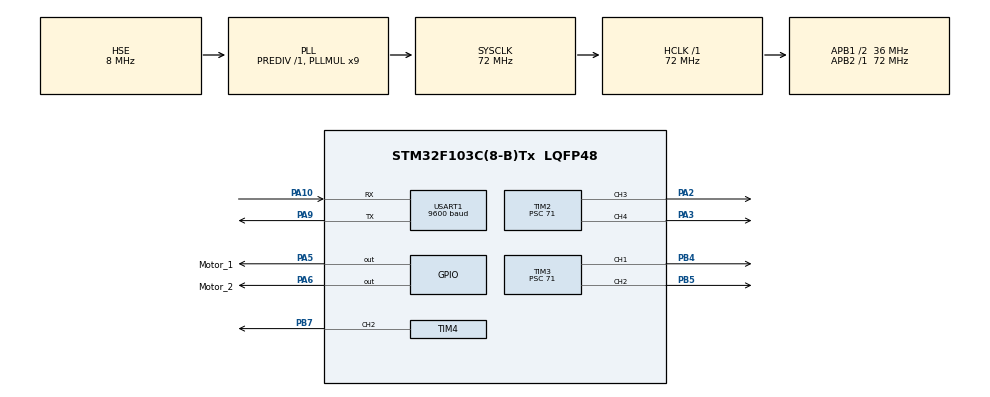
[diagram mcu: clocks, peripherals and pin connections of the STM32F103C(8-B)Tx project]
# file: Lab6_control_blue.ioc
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Mcu.Family=STM32F1
Mcu.Name=STM32F103C(8-B)Tx
Mcu.Package=LQFP48
NVIC.PriorityGroup=NVIC_PRIORITYGROUP_4
NVIC.USART1_IRQn=true\:0\:0\:false\:false\:true\:true\:true\:true
PA10.Mode=Asynchronous
PA10.Signal=USART1_RX
PA13.Mode=Serial_Wire
PA13.Signal=SYS_JTMS-SWDIO
PA14.Mode=Serial_Wire
PA14.Signal=SYS_JTCK-SWCLK
PA2.Signal=S_TIM2_CH3
PA3.Signal=S_TIM2_CH4
PA5.GPIO_Label=Motor_1
PA5.Signal=GPIO_Output
PA6.GPIO_Label=Motor_2
PA6.Signal=GPIO_Output
PA9.Mode=Asynchronous
PA9.Signal=USART1_TX
PB4.Signal=S_TIM3_CH1
PB5.Signal=S_TIM3_CH2
PB7.Signal=S_TIM4_CH2
PD0-OSC_IN.Mode=HSE-External-Oscillator
PD0-OSC_IN.Signal=RCC_OSC_IN
PD1-OSC_OUT.Mode=HSE-External-Oscillator
PD1-OSC_OUT.Signal=RCC_OSC_OUT
ProjectManager.HeapSize=0x200
ProjectManager.StackSize=0x400
ProjectManager.TargetToolchain=STM32CubeIDE
RCC.ADCPresc=RCC_ADCPCLK2_DIV6
RCC.AHBFreq_Value=72000000
RCC.APB1CLKDivider=RCC_HCLK_DIV2
RCC.APB1Freq_Value=36000000
RCC.APB1TimFreq_Value=72000000
RCC.APB2Freq_Value=72000000
RCC.APB2TimFreq_Value=72000000
RCC.HCLKFreq_Value=72000000
RCC.PLLMUL=RCC_PLL_MUL9
RCC.PLLSourceVirtual=RCC_PLLSOURCE_HSE
RCC.SYSCLKFreq_VALUE=72000000
RCC.SYSCLKSource=RCC_SYSCLKSOURCE_PLLCLK
RCC.USBFreq_Value=72000000
SH.S_TIM2_CH3.0=TIM2_CH3,PWM Generation3 CH3
SH.S_TIM2_CH4.0=TIM2_CH4,PWM Generation4 CH4
SH.S_TIM3_CH1.0=TIM3_CH1,PWM Generation1 CH1
SH.S_TIM3_CH2.0=TIM3_CH2,PWM Generation2 CH2
SH.S_TIM4_CH2.0=TIM4_CH2,PWM Generation2 CH2
TIM2.Channel-PWM\ Generation3\ CH3=TIM_CHANNEL_3
TIM2.Channel-PWM\ Generation4\ CH4=TIM_CHANNEL_4
TIM2.Period=99
TIM2.Prescaler=71
TIM3.Channel-PWM\ Generation1\ CH1=TIM_CHANNEL_1
TIM3.Channel-PWM\ Generation2\ CH2=TIM_CHANNEL_2
TIM3.Period=99
TIM3.Prescaler=71
TIM4.Channel-PWM\ Generation2\ CH2=TIM_CHANNEL_2
TIM4.Period=19999
TIM4.Prescaler=71
USART1.BaudRate=9600
USART1.VirtualMode=VM_ASYNC
board=custom

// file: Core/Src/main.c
/* USER CODE BEGIN Header */
/**
  ******************************************************************************
  * @file           : main.c
  * @brief          : Main program body
  ******************************************************************************
  * @attention
  *
  * Copyright (c) 2026 STMicroelectronics.
  * All rights reserved.
  *
  * This software is licensed under terms that can be found in the LICENSE file
  * in the root directory of this software component.
  * If no LICENSE file comes with this software, it is provided AS-IS.
  *
  ******************************************************************************
  */
/* USER CODE END Header */
#include "main.h"
#include "tim.h"
#include "usart.h"
#include "gpio.h"

/* USER CODE BEGIN Includes */
#include <stdint.h>
/* USER CODE END Includes */

/* USER CODE BEGIN PD */

#define M1_TRIM 1.0f
#define M2_TRIM 1.0f

#define Tiempo_arranque_ms 150U

/*servo*/
#define Pulse_min 550
#define Pulse_max 2450
#define Angulo_A 0
#define Angulo_B 90

/* USER CODE END PD */

/* USER CODE BEGIN PV */
uint8_t rxData;
uint8_t duty = 100;
volatile uint8_t cmd = 0;
uint8_t motores_on = 1;
uint8_t servo_b = 0;
/* USER CODE END PV */

void SystemClock_Config(void);

/* USER CODE BEGIN 0 */
void servo_angulo(uint8_t ang);

static void Motor1_set(uint8_t adelante, uint32_t p)
{
	__HAL_TIM_SetCompare(&htim2, TIM_CHANNEL_3, adelante ? p : 0);  // IN1
	__HAL_TIM_SetCompare(&htim3, TIM_CHANNEL_1, adelante ? 0 : p);  // IN2
}

static void Motor2_set(uint8_t adelante, uint32_t p)
{
	__HAL_TIM_SetCompare(&htim2, TIM_CHANNEL_4, adelante ? p : 0);  // IN3
	__HAL_TIM_SetCompare(&htim3, TIM_CHANNEL_2, adelante ? 0 : p);  // IN4
}

static void Motores_avanzar(uint8_t dir1, uint8_t dir2, float k1, float k2)
{
	// Enable siempre en 1 mientras se mueve
		HAL_GPIO_WritePin(Motor_1_GPIO_Port, Motor_1_Pin, GPIO_PIN_SET);
		HAL_GPIO_WritePin(Motor_2_GPIO_Port, Motor_2_Pin, GPIO_PIN_SET);

		Motor1_set(dir1, (uint32_t)(duty * M1_TRIM * k1));
		Motor2_set(dir2, (uint32_t)(duty * M2_TRIM * k2));
}

static void Motores_Detener(void)
{
  __HAL_TIM_SetCompare(&htim2, TIM_CHANNEL_3, 0);
  __HAL_TIM_SetCompare(&htim2, TIM_CHANNEL_4, 0);
  __HAL_TIM_SetCompare(&htim3, TIM_CHANNEL_1, 0);
  __HAL_TIM_SetCompare(&htim3, TIM_CHANNEL_2, 0);
}

/* USER CODE END 0 */

int main(void)
{

  /* MCU Configuration--------------------------------------------------------*/

  /* Reset of all peripherals, Initializes the Flash interface and the Systick. */
  HAL_Init();

  /* Configure the system clock */
  SystemClock_Config();

  /* Initialize all configured peripherals */
  MX_GPIO_Init();
  MX_USART1_UART_Init();
  MX_TIM2_Init();
  MX_TIM3_Init();
  MX_TIM4_Init();
  /* USER CODE BEGIN 2 */
  HAL_TIM_PWM_Start(&htim2, TIM_CHANNEL_3);
  HAL_TIM_PWM_Start(&htim2, TIM_CHANNEL_4);
  HAL_TIM_PWM_Start(&htim3, TIM_CHANNEL_1);
  HAL_TIM_PWM_Start(&htim3, TIM_CHANNEL_2);
  HAL_TIM_PWM_Start(&htim4, TIM_CHANNEL_2);
  Motores_Detener();
  HAL_UART_Receive_IT(&huart1, &rxData, 1);
  servo_angulo(Angulo_A);

  /* USER CODE END 2 */

  /* Infinite loop */
  while (1)
  {

    /* USER CODE BEGIN 3 */
	  if (cmd)
	    {
	      uint8_t c = cmd;
	      cmd = 0;

	      switch (c)
	      {
	        case 'F': Motores_avanzar(1, 1, 1.0f, 1.0f);  break;
	        case 'B': Motores_avanzar(0, 0, 1.0f, 1.0f);  break;
	        case 'L': Motores_avanzar(0, 1, 1.0f, 1.0f);  break;
	        case 'R': Motores_avanzar(1, 0, 1.0f, 1.0f);  break;
	        case 'G': Motores_avanzar(1, 1, 0.5f, 1.0f);  break;
	        case 'H': Motores_avanzar(1, 1, 1.0f, 0.5f);  break;
	        case 'S': Motores_Detener();          		  break;

	        case 'X':
	        		servo_b = !servo_b;
	                servo_angulo(servo_b ? Angulo_B : Angulo_A);
	                break;
	        case '0': duty = 0;   break;
	        case '3': duty = 40;  break;
	        case '5': duty = 60;  break;
	        case '7': duty = 80;  break;
	        case '9': duty = 100;  break;
	      }
	    }
  }
  /* USER CODE END 3 */
}

void SystemClock_Config(void)
{
  RCC_OscInitTypeDef RCC_OscInitStruct = {0};
  RCC_ClkInitTypeDef RCC_ClkInitStruct = {0};

  /** Initializes the RCC Oscillators according to the specified parameters
  * in the RCC_OscInitTypeDef structure.
  */
  RCC_OscInitStruct.OscillatorType = RCC_OSCILLATORTYPE_HSE;
  RCC_OscInitStruct.HSEState = RCC_HSE_ON;
  RCC_OscInitStruct.HSEPredivValue = RCC_HSE_PREDIV_DIV1;
  RCC_OscInitStruct.HSIState = RCC_HSI_ON;
  RCC_OscInitStruct.PLL.PLLState = RCC_PLL_ON;
  RCC_OscInitStruct.PLL.PLLSource = RCC_PLLSOURCE_HSE;
  RCC_OscInitStruct.PLL.PLLMUL = RCC_PLL_MUL9;
  if (HAL_RCC_OscConfig(&RCC_OscInitStruct) != HAL_OK)
  {
    Error_Handler();
  }

  /** Initializes the CPU, AHB and APB buses clocks
  */
  RCC_ClkInitStruct.ClockType = RCC_CLOCKTYPE_HCLK|RCC_CLOCKTYPE_SYSCLK
                              |RCC_CLOCKTYPE_PCLK1|RCC_CLOCKTYPE_PCLK2;
  RCC_ClkInitStruct.SYSCLKSource = RCC_SYSCLKSOURCE_PLLCLK;
  RCC_ClkInitStruct.AHBCLKDivider = RCC_SYSCLK_DIV1;
  RCC_ClkInitStruct.APB1CLKDivider = RCC_HCLK_DIV2;
  RCC_ClkInitStruct.APB2CLKDivider = RCC_HCLK_DIV1;

  if (HAL_RCC_ClockConfig(&RCC_ClkInitStruct, FLASH_LATENCY_2) != HAL_OK)
  {
    Error_Handler();
  }
}

/* USER CODE BEGIN 4 */
void servo_angulo(uint8_t ang)
{
	uint16_t  pwm_servo;
	pwm_servo = (uint16_t)((ang-0)*(Pulse_max-Pulse_min)/(180-0)+Pulse_min);
	 __HAL_TIM_SetCompare(&htim4, TIM_CHANNEL_2, pwm_servo);
}
void HAL_UART_RxCpltCallback(UART_HandleTypeDef *huart)
{
  if (huart->Instance == USART1)
  {
	  if (rxData != '\r' && rxData != '\n'){
	        cmd = rxData;
	  }
	  HAL_UART_Receive_IT(&huart1, &rxData, 1);
  }
}
/* USER CODE END 4 */

void Error_Handler(void)
{
  __disable_irq();
  while (1)
  {
  }
}
